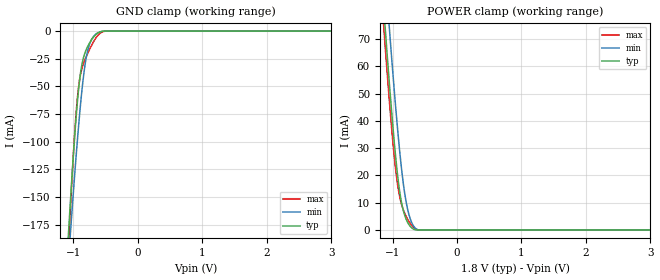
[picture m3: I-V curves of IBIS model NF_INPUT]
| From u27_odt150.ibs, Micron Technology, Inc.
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|   MODEL NF_INPUT
[Model]   NF_INPUT
Model_type   Terminator
| This model is for non-functioning DQ inputs on the x4 package
|   typ   min   max
C_comp   3.170pF   2.750pF   3.620pF
[Voltage Range]   1.800V   1.700V   1.900V
[Temperature Range]   25.0   85.0   0.0
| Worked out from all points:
|   GND clamp passes 1 mA (typ) near -0.60 V on its own axis
|   POWER clamp passes 1 mA (typ) near -0.71 V on its own axis
[GND Clamp]
|   Voltage   I(typ)   I(min)   I(max)
-1.8V     -988.2mA   -872mA     -1.22A
-1.09V    -197.3mA   -220.2mA   NA
-1.07V    -177.5mA   -203.3mA   NA
-1.05V    -158.1mA   -186.6mA   NA
-1.03V    -139.3mA   -170.2mA   NA
-970mV    -87.66mA   -122.9mA   NA
-910mV    -47.81mA   -79.94mA   NA
-850mV    -25.57mA   -44.55mA   NA
-790mV    -15.42mA   -20.89mA   NA
-730mV    -8.953mA   -9.069mA   NA
-630mV    -2.097mA   -1.853mA   NA
3.6V      0A         0A         0A
[POWER Clamp]
|   Voltage   I(typ)   I(min)   I(max)
-1.8V     315.5mA    332.8mA    311mA
-1.13V    79.34mA    99.85mA    NA
-1.11V    72.87mA    93.37mA    NA
-1.05V    54.08mA    74.34mA    NA
-990mV    36.7mA     56.14mA    NA
-950mV    26.42mA    44.7mA     NA
-910mV    17.77mA    34.05mA    NA
-870mV    11.26mA    24.53mA    NA
-810mV    5.284mA    13.23mA    NA
-770mV    2.965mA    8.011mA    NA
-670mV    248.5uA    1.297mA    NA
3.6V      0A         0A         0A
